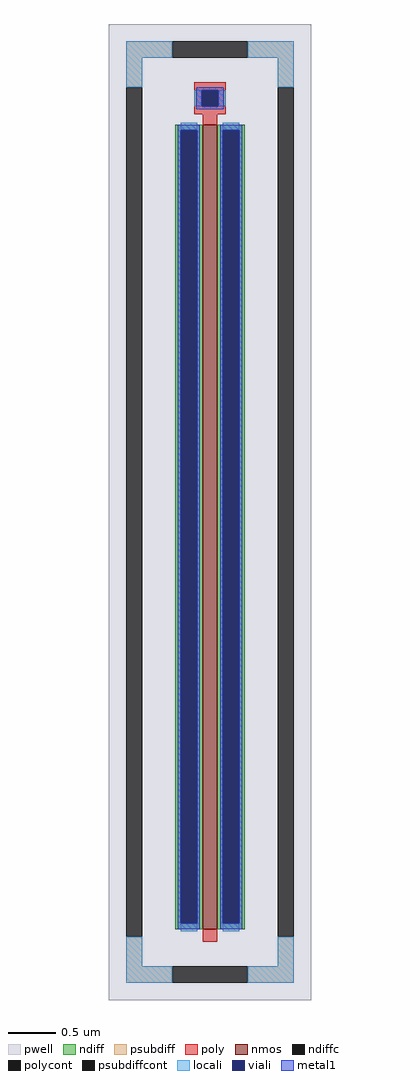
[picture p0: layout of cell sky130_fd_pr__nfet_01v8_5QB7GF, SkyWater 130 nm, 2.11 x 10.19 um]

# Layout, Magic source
magic
tech sky130A
magscale 1 2
<< pwell >>
rect -211 -1019 211 1019
<< nmos >>
rect -15 -871 15 809
<< ndiff >>
rect -73 797 -15 809
rect -73 -859 -61 797
rect -27 -859 -15 797
rect -73 -871 -15 -859
rect 15 797 73 809
rect 15 -859 27 797
rect 61 -859 73 797
rect 15 -871 73 -859
<< ndiffc >>
rect -61 -859 -27 797
rect 27 -859 61 797
<< psubdiff >>
rect -175 949 -79 983
rect 79 949 175 983
rect -175 887 -141 949
rect 141 887 175 949
rect -175 -949 -141 -887
rect 141 -949 175 -887
rect -175 -983 -79 -949
rect 79 -983 175 -949
<< psubdiffcont >>
rect -79 949 79 983
rect -175 -887 -141 887
rect 141 -887 175 887
rect -79 -983 79 -949
<< poly >>
rect -33 881 33 897
rect -33 847 -17 881
rect 17 847 33 881
rect -33 831 33 847
rect -15 809 15 831
rect -15 -897 15 -871
<< polycont >>
rect -17 847 17 881
<< locali >>
rect -175 949 -79 983
rect 79 949 175 983
rect -175 887 -141 949
rect 141 887 175 949
rect -33 847 -17 881
rect 17 847 33 881
rect -61 797 -27 813
rect -61 -875 -27 -859
rect 27 797 61 813
rect 27 -875 61 -859
rect -175 -949 -141 -887
rect 141 -949 175 -887
rect -175 -983 -79 -949
rect 79 -983 175 -949
<< viali >>
rect -17 847 17 881
rect -61 -859 -27 797
rect 27 -859 61 797
<< metal1 >>
rect -29 881 29 887
rect -29 847 -17 881
rect 17 847 29 881
rect -29 841 29 847
rect -67 797 -21 809
rect -67 -859 -61 797
rect -27 -859 -21 797
rect -67 -871 -21 -859
rect 21 797 67 809
rect 21 -859 27 797
rect 61 -859 67 797
rect 21 -871 67 -859
<< properties >>
string gencell sky130_fd_pr__nfet_01v8
string FIXED_BBOX -158 -966 158 966
string parameters w 8.4 l 0.150 m 1 nf 1 diffcov 100 polycov 100 guard 1 glc 1 grc 1 gtc 1 gbc 1 tbcov 100 rlcov 100 topc 1 botc 0 poverlap 0 doverlap 0 lmin 0.15 wmin 0.42 compatible {sky130_fd_pr__nfet_01v8 sky130_fd_pr__nfet_01v8_lvt  sky130_fd_bs_flash__special_sonosfet_star  sky130_fd_pr__nfet_g5v0d10v5 sky130_fd_pr__nfet_05v0_nvt} full_metal 1 viasrc 100 viadrn 100 viagate 100 viagb 0 viagr 0 viagl 0 viagt 0
string library sky130
<< end >>
